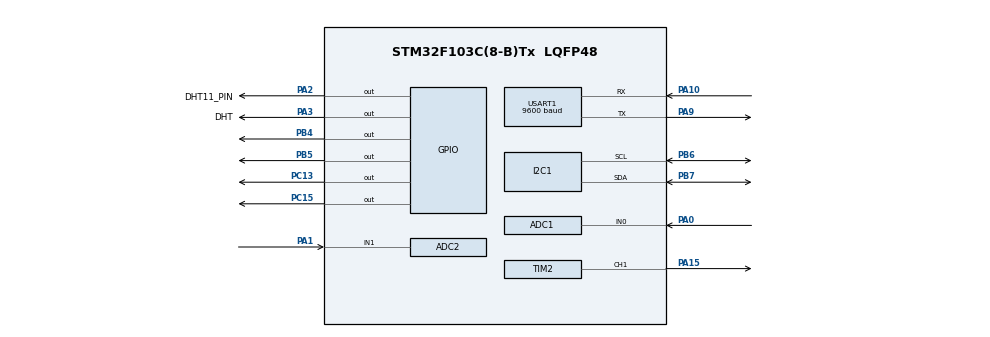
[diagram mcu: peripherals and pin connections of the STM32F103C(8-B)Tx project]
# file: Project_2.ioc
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ADC1.Channel-4\#ChannelRegularConversion=ADC_CHANNEL_0
ADC1.NbrOfConversionFlag=1
ADC1.Rank-4\#ChannelRegularConversion=1
ADC1.SamplingTime-4\#ChannelRegularConversion=ADC_SAMPLETIME_13CYCLES_5
ADC1.master=1
ADC2.Channel-1\#ChannelRegularConversion=ADC_CHANNEL_1
ADC2.NbrOfConversionFlag=1
ADC2.Rank-1\#ChannelRegularConversion=1
ADC2.SamplingTime-1\#ChannelRegularConversion=ADC_SAMPLETIME_13CYCLES_5
I2C1.I2C_Mode=I2C_Fast
IWDG.Prescaler=IWDG_PRESCALER_256
Mcu.Family=STM32F1
Mcu.Name=STM32F103C(8-B)Tx
Mcu.Package=LQFP48
NVIC.PriorityGroup=NVIC_PRIORITYGROUP_4
NVIC.USART1_IRQn=true\:0\:0\:false\:false\:true\:true\:true\:true
PA0-WKUP.Signal=ADCx_IN0
PA1.Signal=ADCx_IN1
PA10.Mode=Asynchronous
PA10.Signal=USART1_RX
PA13.Mode=Serial_Wire
PA13.Signal=SYS_JTMS-SWDIO
PA14.Mode=Serial_Wire
PA14.Signal=SYS_JTCK-SWCLK
PA15.Signal=S_TIM2_CH1_ETR
PA2.GPIO_Label=DHT11_PIN
PA2.Signal=GPIO_Output
PA3.GPIO_Label=DHT
PA3.Signal=GPIO_Output
PA9.Mode=Asynchronous
PA9.Signal=USART1_TX
PB4.Signal=GPIO_Output
PB5.Signal=GPIO_Output
PB6.Mode=I2C
PB6.Signal=I2C1_SCL
PB7.Mode=I2C
PB7.Signal=I2C1_SDA
PC13-TAMPER-RTC.Signal=GPIO_Output
PC15-OSC32_OUT.Signal=GPIO_Output
ProjectManager.HeapSize=0x200
ProjectManager.StackSize=0x400
ProjectManager.TargetToolchain=STM32CubeIDE
RCC.APB1Freq_Value=8000000
RCC.APB2Freq_Value=8000000
SH.ADCx_IN0.0=ADC1_IN0,IN0
SH.ADCx_IN1.0=ADC2_IN1,IN1
SH.S_TIM2_CH1_ETR.0=TIM2_CH1,PWM Generation1 CH1
TIM1.Prescaler=8
TIM2.AutoReloadPreload=TIM_AUTORELOAD_PRELOAD_ENABLE
TIM2.Channel-PWM\ Generation1\ CH1=TIM_CHANNEL_1
TIM2.Period=1000
TIM2.Prescaler=7
TIM3.Prescaler=7
TIM4.Prescaler=7
USART1.BaudRate=9600
USART1.VirtualMode=VM_ASYNC
VP_IWDG_VS_IWDG.Mode=IWDG_Activate
VP_TIM1_VS_ClockSourceINT.Mode=Internal
VP_TIM2_VS_ClockSourceINT.Mode=Internal
VP_TIM3_VS_ClockSourceINT.Mode=Internal
VP_TIM4_VS_ClockSourceINT.Mode=Internal
board=custom

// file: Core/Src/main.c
/* USER CODE BEGIN Header */
/**
 ******************************************************************************
 * @file           : main.c
 * @brief          : Main program body
 ******************************************************************************
 * @attention
 *
 * Copyright (c) 2024 STMicroelectronics.
 * All rights reserved.
 *
 * This software is licensed under terms that can be found in the LICENSE file
 * in the root directory of this software component.
 * If no LICENSE file comes with this software, it is provided AS-IS.
 *
 ******************************************************************************
 */
/* USER CODE END Header */
#include "main.h"

/* USER CODE BEGIN Includes */
#include "gpio.h"
#include "timer.h"
#include "DHT.h"
#include "string.h"
#include "SharpGP2Y10.h"
#include "math.h"
#include "ssd1306.h"
#define ID_STM32_2 0x02
#define ID_ESP	   0x03
#define READ	   0x00
#define WRITE	   0x01
#define PWM_TRUE   0x01
#define PWM_FLASE  0x00
/* USER CODE END Includes */

ADC_HandleTypeDef hadc1;
ADC_HandleTypeDef hadc2;

I2C_HandleTypeDef hi2c1;

IWDG_HandleTypeDef hiwdg;

TIM_HandleTypeDef htim1;
TIM_HandleTypeDef htim2;
TIM_HandleTypeDef htim3;
TIM_HandleTypeDef htim4;

UART_HandleTypeDef huart1;

/* USER CODE BEGIN PV */
struct PinSetup DustSensor;
/* USER CODE END PV */

void SystemClock_Config(void);
static void MX_GPIO_Init(void);
static void MX_TIM4_Init(void);
static void MX_TIM1_Init(void);
static void MX_TIM2_Init(void);
static void MX_TIM3_Init(void);
static void MX_ADC1_Init(void);
static void MX_ADC2_Init(void);
static void MX_USART1_UART_Init(void);
static void MX_I2C1_Init(void);
static void MX_IWDG_Init(void);
/* USER CODE BEGIN PFP */

//uint16_t adc_read(ADC_HandleTypeDef *Adc_x){
//	  HAL_ADC_Start(&hadc1); // start the adc
//
//	  HAL_ADC_PollForConversion(&hadc1, 100); // poll for conversion
//
//	  adc_val = HAL_ADC_GetValue(&hadc1); // get the adc value
//
//	  HAL_ADC_Stop(&hadc1); // stop adc
//}
/* USER CODE END PFP */

/* USER CODE BEGIN 0 */
#define RL 10.0       // �?iện trở tải (RL) là 10kΩ
#define R0 76.63      // Giá trị R0 đo được trong không khí sạch (cần hiệu chỉnh)
#define TEMPERATURE_WARNING 35
typedef struct {
	int sensorvalue;
	float voltage;
	float rs;
	float ratio;
	float ppm;
	uint8_t speed_fan;
	dht11_t dht;
	float SensorCo;
} Peripheral_t;
Peripheral_t PeripheralData;
uint8_t TriggerPwm = 0;
uint32_t value[3];
dht11_t dht;
float humi, temp;
uint8_t rx_data[1];  // Biến lưu dữ liệu nhận
uint8_t buffer[128];
uint8_t index_buffer = 0;
volatile int flat = 0;
typedef struct {
	uint8_t id;        // ID 8 bit
	uint8_t rw;        // Read (0) hoặc Write (1) 1 bit
//	char data[128];        // Chuỗi dữ liệu (String)
	uint8_t d_humi;
	uint8_t d_temp;
	uint16_t d_ppm;
	uint16_t d_co;
	uint8_t crc;       // CRC 8 bit dùng để kiểm tra lỗi
	uint8_t endframe;
	uint8_t RL1;
	uint8_t RL2;
} LoRaFrame;
LoRaFrame LoRaTx;

void HAL_UART_RxCpltCallback(UART_HandleTypeDef *huart) {
	if (huart->Instance == USART1) {
		if (rx_data[0] == '\n') {
			if (strstr(buffer, "ID")) {
				uint8_t test = 0;
				uint8_t temp1 = 0;
				uint8_t temp2 = 0;
				sscanf(buffer, "{\"ID\": %hhu}", &test, &temp1, &temp2);
				if (test == ID_STM32_2) {
					flat = 1;
				}
			}
			if(strstr(buffer,"FAN2")){
				flat = 2;
			}
			if(strstr(buffer,"LIGHT2")){
				flat = 3;
			}
			for (int i = 0; i < index_buffer; i++) {
				buffer[i] = '\0';
			}
			index_buffer = 0;
		} else {
			buffer[index_buffer++] = rx_data[0];
		}

		HAL_UART_Receive_IT(&huart1, (uint8_t*) rx_data, 1);
	}
}

// Hàm gửi khung dữ liệu (chuỗi) qua UART cho LoRa E32
void LoRa_SendFrame(LoRaFrame *data) {
	char buf[258];
	sprintf(buf,
			"{\"ID\": %u, \"RW\": %u, \"HUMI\": %u, \"TEMP\": %u, \"PPM\": %Lu, \"CO\": %Lu, \"RL3\": %u, \"RL4\": %u}\n\r",
			data->id, data->rw, data->d_humi, data->d_temp, data->d_ppm,
			data->d_co, data->RL1, data->RL2);
	// Gửi khung dữ liệu qua UART
	HAL_UART_Transmit(&huart1, (uint8_t*) buf, strlen(buf), 100);
}
void UpdateOled(Peripheral_t *pPeripheralData_t) {
	char buf_t[50];
	char buf_h[50];
	char buf_ppm[50];
	char buf_co[50];
	char buf_sp[50];
//	SSD1306_Clear();
	sprintf(buf_t, "Temperature: %u ", pPeripheralData_t->dht.temperature);
	sprintf(buf_h, "Humidity: %u", pPeripheralData_t->dht.humidty);
	sprintf(buf_ppm, "PPM: %Lu", (uint16_t) pPeripheralData_t->ppm);
	sprintf(buf_co, "CO: %Lu", (uint16_t) pPeripheralData_t->SensorCo);
	sprintf(buf_sp, "Speed fan: %u", 0);

	SSD1306_GotoXY(40, 0); // goto 10, 10
	SSD1306_Puts("NODE1", &Font_7x10, 1); // print Hello

	SSD1306_GotoXY(0, 10);
	SSD1306_Puts(buf_t, &Font_7x10, 1);

	SSD1306_GotoXY(0, 20); // goto 10, 10
	SSD1306_Puts(buf_h, &Font_7x10, 1); // print Hello
	SSD1306_GotoXY(0, 30);
	SSD1306_Puts(buf_ppm, &Font_7x10, 1);

	SSD1306_GotoXY(0, 40);
	SSD1306_Puts(buf_co, &Font_7x10, 1);

	SSD1306_GotoXY(0, 50);
	SSD1306_Puts(buf_sp, &Font_7x10, 1);
	SSD1306_UpdateScreen(); // update screen

}
void UpdateSensorData(dht11_t *pdht, Peripheral_t *pPeripheralData) {
	readDHT11(pdht);
	pPeripheralData->dht.temperature = dht.temperature;
	pPeripheralData->dht.humidty = dht.humidty;

	pPeripheralData->SensorCo = analogRead(&hadc2) / 3;

	pPeripheralData->sensorvalue = analogRead(&hadc1);
	pPeripheralData->voltage = pPeripheralData->sensorvalue * (5 / 4095.0);
	pPeripheralData->rs = (5 - pPeripheralData->voltage)
			/ PeripheralData.voltage * RL;
	pPeripheralData->ratio = pPeripheralData->rs / R0;
	pPeripheralData->ppm = 116.6020682
			* pow(pPeripheralData->ratio, -2.769034857);
}
void LoRa_UpdateFrame(LoRaFrame *pLoRaFrame, uint8_t id, uint8_t rw,
		Peripheral_t *pPeripheralData) {

	pLoRaFrame->id = id;
	pLoRaFrame->rw = rw;
	pLoRaFrame->d_temp = pPeripheralData->dht.temperature;
	pLoRaFrame->d_humi = pPeripheralData->dht.humidty;
	pLoRaFrame->d_ppm = (uint16_t) pPeripheralData->ppm;
	pLoRaFrame->d_co = (uint16_t) pPeripheralData->SensorCo;

}
//void Read_DataDht(){
//	DHT_GetData(&Dht11Data);
//	temp = Dht11Data.Temperature;
//	humi = Dht11Data.Humidity;
//}
/* USER CODE END 0 */

int main(void) {

	/* MCU Configuration--------------------------------------------------------*/

	/* Reset of all peripherals, Initializes the Flash interface and the Systick. */
	HAL_Init();

	/* Configure the system clock */
	SystemClock_Config();

	/* Initialize all configured peripherals */
	MX_GPIO_Init();
	MX_TIM4_Init();
	MX_TIM1_Init();
	MX_TIM2_Init();
	MX_TIM3_Init();
	MX_ADC1_Init();
	MX_ADC2_Init();
	MX_USART1_UART_Init();
	MX_I2C1_Init();
//	MX_IWDG_Init();
	/* USER CODE BEGIN 2 */
//	HAL_IWDG_Init(&hiwdg);
	HAL_TIM_Base_Start(&htim4);
	HAL_TIM_PWM_Start(&htim2, TIM_CHANNEL_1);

	timer_init(&htim3);
	init_dht11(&dht, &htim4, GPIOA, DHT_Pin);

	SSD1306_Init();
	SSD1306_Fill(SSD1306_COLOR_BLACK);

	HAL_UART_Receive_IT(&huart1, (uint8_t*) rx_data, 1);

	uint16_t tick = HAL_GetTick();
	HAL_GPIO_WritePin(GPIOB, GPIO_PIN_4, GPIO_PIN_SET);
	HAL_GPIO_WritePin(GPIOB, GPIO_PIN_5, GPIO_PIN_SET);
	LoRaTx.RL1 = 1;
	LoRaTx.RL2 = 1;
	/* USER CODE END 2 */

	/* Infinite loop */
	/* USER CODE BEGIN WHILE */
	while (1) {
//		HAL_IWDG_Refresh(&hiwdg);
		if (HAL_GetTick() - tick >= 150) {
			UpdateSensorData(&dht, &PeripheralData);
			UpdateOled(&PeripheralData);
//			HAL_GPIO_WritePin(GPIOB, GPIO_PIN_4, LoRaTx.RL1);
//			HAL_GPIO_WritePin(GPIOB, GPIO_PIN_5, LoRaTx.RL2);
			tick = HAL_GetTick();
		}
		if (flat == 1) {
			LoRa_UpdateFrame(&LoRaTx, ID_STM32_2, WRITE, &PeripheralData);
			LoRa_SendFrame(&LoRaTx);
			flat = 0;
		}else if(flat == 2){
			LoRaTx.RL1 = !LoRaTx.RL1;
			HAL_GPIO_WritePin(GPIOB, GPIO_PIN_4, LoRaTx.RL1);
			flat = 0;
		}else if(flat == 3){
			LoRaTx.RL2 = !LoRaTx.RL2;
			HAL_GPIO_WritePin(GPIOB, GPIO_PIN_5, LoRaTx.RL2);
			flat = 0;
		}
//		if (PeripheralData.dht.temperature >= TEMPERATURE_WARNING
//				&& TriggerPwm == PWM_FLASE) {
//			__HAL_TIM_SET_COMPARE(&htim2, TIM_CHANNEL_1, 900);
//			TriggerPwm = PWM_TRUE;
//		} else if (PeripheralData.dht.temperature < TEMPERATURE_WARNING
//				&& TriggerPwm == PWM_TRUE) {
//			__HAL_TIM_SET_COMPARE(&htim2, TIM_CHANNEL_1, 200);
//		} else
//			;
		/* USER CODE END WHILE */

	}
}

void SystemClock_Config(void) {
	RCC_OscInitTypeDef RCC_OscInitStruct = { 0 };
	RCC_ClkInitTypeDef RCC_ClkInitStruct = { 0 };
	RCC_PeriphCLKInitTypeDef PeriphClkInit = { 0 };

	/** Initializes the RCC Oscillators according to the specified parameters
	 * in the RCC_OscInitTypeDef structure.
	 */
	RCC_OscInitStruct.OscillatorType = RCC_OSCILLATORTYPE_HSI
			| RCC_OSCILLATORTYPE_LSI;
	RCC_OscInitStruct.HSIState = RCC_HSI_ON;
	RCC_OscInitStruct.HSICalibrationValue = RCC_HSICALIBRATION_DEFAULT;
	RCC_OscInitStruct.LSIState = RCC_LSI_ON;
	RCC_OscInitStruct.PLL.PLLState = RCC_PLL_NONE;
	if (HAL_RCC_OscConfig(&RCC_OscInitStruct) != HAL_OK) {
		Error_Handler();
	}

	/** Initializes the CPU, AHB and APB buses clocks
	 */
	RCC_ClkInitStruct.ClockType = RCC_CLOCKTYPE_HCLK | RCC_CLOCKTYPE_SYSCLK
			| RCC_CLOCKTYPE_PCLK1 | RCC_CLOCKTYPE_PCLK2;
	RCC_ClkInitStruct.SYSCLKSource = RCC_SYSCLKSOURCE_HSI;
	RCC_ClkInitStruct.AHBCLKDivider = RCC_SYSCLK_DIV1;
	RCC_ClkInitStruct.APB1CLKDivider = RCC_HCLK_DIV1;
	RCC_ClkInitStruct.APB2CLKDivider = RCC_HCLK_DIV1;

	if (HAL_RCC_ClockConfig(&RCC_ClkInitStruct, FLASH_LATENCY_0) != HAL_OK) {
		Error_Handler();
	}
	PeriphClkInit.PeriphClockSelection = RCC_PERIPHCLK_ADC;
	PeriphClkInit.AdcClockSelection = RCC_ADCPCLK2_DIV2;
	if (HAL_RCCEx_PeriphCLKConfig(&PeriphClkInit) != HAL_OK) {
		Error_Handler();
	}
}

static void MX_ADC1_Init(void) {

	ADC_ChannelConfTypeDef sConfig = { 0 };

	/** Common config
	 */
	hadc1.Instance = ADC1;
	hadc1.Init.ScanConvMode = ADC_SCAN_DISABLE;
	hadc1.Init.ContinuousConvMode = DISABLE;
	hadc1.Init.DiscontinuousConvMode = DISABLE;
	hadc1.Init.ExternalTrigConv = ADC_SOFTWARE_START;
	hadc1.Init.DataAlign = ADC_DATAALIGN_RIGHT;
	hadc1.Init.NbrOfConversion = 1;
	if (HAL_ADC_Init(&hadc1) != HAL_OK) {
		Error_Handler();
	}

	/** Configure Regular Channel
	 */
	sConfig.Channel = ADC_CHANNEL_0;
	sConfig.Rank = ADC_REGULAR_RANK_1;
	sConfig.SamplingTime = ADC_SAMPLETIME_13CYCLES_5;
	if (HAL_ADC_ConfigChannel(&hadc1, &sConfig) != HAL_OK) {
		Error_Handler();
	}

}

static void MX_ADC2_Init(void) {

	ADC_ChannelConfTypeDef sConfig = { 0 };

	/** Common config
	 */
	hadc2.Instance = ADC2;
	hadc2.Init.ScanConvMode = ADC_SCAN_DISABLE;
	hadc2.Init.ContinuousConvMode = DISABLE;
	hadc2.Init.DiscontinuousConvMode = DISABLE;
	hadc2.Init.ExternalTrigConv = ADC_SOFTWARE_START;
	hadc2.Init.DataAlign = ADC_DATAALIGN_RIGHT;
	hadc2.Init.NbrOfConversion = 1;
	if (HAL_ADC_Init(&hadc2) != HAL_OK) {
		Error_Handler();
	}

	/** Configure Regular Channel
	 */
	sConfig.Channel = ADC_CHANNEL_1;
	sConfig.Rank = ADC_REGULAR_RANK_1;
	sConfig.SamplingTime = ADC_SAMPLETIME_13CYCLES_5;
	if (HAL_ADC_ConfigChannel(&hadc2, &sConfig) != HAL_OK) {
		Error_Handler();
	}

}

static void MX_I2C1_Init(void) {

	hi2c1.Instance = I2C1;
	hi2c1.Init.ClockSpeed = 400000;
	hi2c1.Init.DutyCycle = I2C_DUTYCYCLE_2;
	hi2c1.Init.OwnAddress1 = 0;
	hi2c1.Init.AddressingMode = I2C_ADDRESSINGMODE_7BIT;
	hi2c1.Init.DualAddressMode = I2C_DUALADDRESS_DISABLE;
	hi2c1.Init.OwnAddress2 = 0;
	hi2c1.Init.GeneralCallMode = I2C_GENERALCALL_DISABLE;
	hi2c1.Init.NoStretchMode = I2C_NOSTRETCH_DISABLE;
	if (HAL_I2C_Init(&hi2c1) != HAL_OK) {
		Error_Handler();
	}

}

static void MX_IWDG_Init(void) {

	hiwdg.Instance = IWDG;
	hiwdg.Init.Prescaler = IWDG_PRESCALER_256;
	hiwdg.Init.Reload = 4095;
	if (HAL_IWDG_Init(&hiwdg) != HAL_OK) {
		Error_Handler();
	}

}

static void MX_TIM1_Init(void) {

	TIM_ClockConfigTypeDef sClockSourceConfig = { 0 };
	TIM_MasterConfigTypeDef sMasterConfig = { 0 };

	htim1.Instance = TIM1;
	htim1.Init.Prescaler = 8;
	htim1.Init.CounterMode = TIM_COUNTERMODE_UP;
	htim1.Init.Period = 65535;
	htim1.Init.ClockDivision = TIM_CLOCKDIVISION_DIV1;
	htim1.Init.RepetitionCounter = 0;
	htim1.Init.AutoReloadPreload = TIM_AUTORELOAD_PRELOAD_DISABLE;
	if (HAL_TIM_Base_Init(&htim1) != HAL_OK) {
		Error_Handler();
	}
	sClockSourceConfig.ClockSource = TIM_CLOCKSOURCE_INTERNAL;
	if (HAL_TIM_ConfigClockSource(&htim1, &sClockSourceConfig) != HAL_OK) {
		Error_Handler();
	}
	sMasterConfig.MasterOutputTrigger = TIM_TRGO_RESET;
	sMasterConfig.MasterSlaveMode = TIM_MASTERSLAVEMODE_DISABLE;
	if (HAL_TIMEx_MasterConfigSynchronization(&htim1, &sMasterConfig)
			!= HAL_OK) {
		Error_Handler();
	}

}

static void MX_TIM2_Init(void) {

	TIM_ClockConfigTypeDef sClockSourceConfig = { 0 };
	TIM_MasterConfigTypeDef sMasterConfig = { 0 };
	TIM_OC_InitTypeDef sConfigOC = { 0 };

	htim2.Instance = TIM2;
	htim2.Init.Prescaler = 7;
	htim2.Init.CounterMode = TIM_COUNTERMODE_UP;
	htim2.Init.Period = 1000;
	htim2.Init.ClockDivision = TIM_CLOCKDIVISION_DIV1;
	htim2.Init.AutoReloadPreload = TIM_AUTORELOAD_PRELOAD_ENABLE;
	if (HAL_TIM_Base_Init(&htim2) != HAL_OK) {
		Error_Handler();
	}
	sClockSourceConfig.ClockSource = TIM_CLOCKSOURCE_INTERNAL;
	if (HAL_TIM_ConfigClockSource(&htim2, &sClockSourceConfig) != HAL_OK) {
		Error_Handler();
	}
	if (HAL_TIM_PWM_Init(&htim2) != HAL_OK) {
		Error_Handler();
	}
	sMasterConfig.MasterOutputTrigger = TIM_TRGO_RESET;
	sMasterConfig.MasterSlaveMode = TIM_MASTERSLAVEMODE_DISABLE;
	if (HAL_TIMEx_MasterConfigSynchronization(&htim2, &sMasterConfig)
			!= HAL_OK) {
		Error_Handler();
	}
	sConfigOC.OCMode = TIM_OCMODE_PWM1;
	sConfigOC.Pulse = 0;
	sConfigOC.OCPolarity = TIM_OCPOLARITY_HIGH;
	sConfigOC.OCFastMode = TIM_OCFAST_DISABLE;
	if (HAL_TIM_PWM_ConfigChannel(&htim2, &sConfigOC, TIM_CHANNEL_1)
			!= HAL_OK) {
		Error_Handler();
	}
	HAL_TIM_MspPostInit(&htim2);

}

static void MX_TIM3_Init(void) {

	TIM_ClockConfigTypeDef sClockSourceConfig = { 0 };
	TIM_MasterConfigTypeDef sMasterConfig = { 0 };

	htim3.Instance = TIM3;
	htim3.Init.Prescaler = 7;
	htim3.Init.CounterMode = TIM_COUNTERMODE_UP;
	htim3.Init.Period = 65535;
	htim3.Init.ClockDivision = TIM_CLOCKDIVISION_DIV1;
	htim3.Init.AutoReloadPreload = TIM_AUTORELOAD_PRELOAD_DISABLE;
	if (HAL_TIM_Base_Init(&htim3) != HAL_OK) {
		Error_Handler();
	}
	sClockSourceConfig.ClockSource = TIM_CLOCKSOURCE_INTERNAL;
	if (HAL_TIM_ConfigClockSource(&htim3, &sClockSourceConfig) != HAL_OK) {
		Error_Handler();
	}
	sMasterConfig.MasterOutputTrigger = TIM_TRGO_RESET;
	sMasterConfig.MasterSlaveMode = TIM_MASTERSLAVEMODE_DISABLE;
	if (HAL_TIMEx_MasterConfigSynchronization(&htim3, &sMasterConfig)
			!= HAL_OK) {
		Error_Handler();
	}

}

static void MX_TIM4_Init(void) {

	TIM_ClockConfigTypeDef sClockSourceConfig = { 0 };
	TIM_MasterConfigTypeDef sMasterConfig = { 0 };

	htim4.Instance = TIM4;
	htim4.Init.Prescaler = 7;
	htim4.Init.CounterMode = TIM_COUNTERMODE_UP;
	htim4.Init.Period = 65535;
	htim4.Init.ClockDivision = TIM_CLOCKDIVISION_DIV1;
	htim4.Init.AutoReloadPreload = TIM_AUTORELOAD_PRELOAD_DISABLE;
	if (HAL_TIM_Base_Init(&htim4) != HAL_OK) {
		Error_Handler();
	}
	sClockSourceConfig.ClockSource = TIM_CLOCKSOURCE_INTERNAL;
	if (HAL_TIM_ConfigClockSource(&htim4, &sClockSourceConfig) != HAL_OK) {
		Error_Handler();
	}
	sMasterConfig.MasterOutputTrigger = TIM_TRGO_RESET;
	sMasterConfig.MasterSlaveMode = TIM_MASTERSLAVEMODE_DISABLE;
	if (HAL_TIMEx_MasterConfigSynchronization(&htim4, &sMasterConfig)
			!= HAL_OK) {
		Error_Handler();
	}

}

static void MX_USART1_UART_Init(void) {

	huart1.Instance = USART1;
	huart1.Init.BaudRate = 9600;
	huart1.Init.WordLength = UART_WORDLENGTH_8B;
	huart1.Init.StopBits = UART_STOPBITS_1;
	huart1.Init.Parity = UART_PARITY_NONE;
	huart1.Init.Mode = UART_MODE_TX_RX;
	huart1.Init.HwFlowCtl = UART_HWCONTROL_NONE;
	huart1.Init.OverSampling = UART_OVERSAMPLING_16;
	if (HAL_UART_Init(&huart1) != HAL_OK) {
		Error_Handler();
	}

}

static void MX_GPIO_Init(void) {
	GPIO_InitTypeDef GPIO_InitStruct = { 0 };

	/* GPIO Ports Clock Enable */
	__HAL_RCC_GPIOC_CLK_ENABLE();
	__HAL_RCC_GPIOA_CLK_ENABLE();
	__HAL_RCC_GPIOB_CLK_ENABLE();

	/*Configure GPIO pin Output Level */
	HAL_GPIO_WritePin(GPIOC, GPIO_PIN_13 | GPIO_PIN_15, GPIO_PIN_RESET);

	/*Configure GPIO pin Output Level */
	HAL_GPIO_WritePin(GPIOA, DHT11_PIN_Pin | DHT_Pin, GPIO_PIN_RESET);

	/*Configure GPIO pin Output Level */
	HAL_GPIO_WritePin(GPIOB, GPIO_PIN_4 | GPIO_PIN_5, GPIO_PIN_RESET);

	/*Configure GPIO pins : PC13 PC15 */
	GPIO_InitStruct.Pin = GPIO_PIN_13 | GPIO_PIN_15;
	GPIO_InitStruct.Mode = GPIO_MODE_OUTPUT_PP;
	GPIO_InitStruct.Pull = GPIO_NOPULL;
	GPIO_InitStruct.Speed = GPIO_SPEED_FREQ_LOW;
	HAL_GPIO_Init(GPIOC, &GPIO_InitStruct);

	/*Configure GPIO pins : DHT11_PIN_Pin DHT_Pin */
	GPIO_InitStruct.Pin = DHT11_PIN_Pin | DHT_Pin;
	GPIO_InitStruct.Mode = GPIO_MODE_OUTPUT_PP;
	GPIO_InitStruct.Pull = GPIO_NOPULL;
	GPIO_InitStruct.Speed = GPIO_SPEED_FREQ_LOW;
	HAL_GPIO_Init(GPIOA, &GPIO_InitStruct);

	/*Configure GPIO pins : PB4 PB5 */
	GPIO_InitStruct.Pin = GPIO_PIN_4 | GPIO_PIN_5;
	GPIO_InitStruct.Mode = GPIO_MODE_OUTPUT_PP;
	GPIO_InitStruct.Pull = GPIO_NOPULL;
	GPIO_InitStruct.Speed = GPIO_SPEED_FREQ_LOW;
	HAL_GPIO_Init(GPIOB, &GPIO_InitStruct);

}

void Error_Handler(void) {
	__disable_irq();
	while (1) {
	}
}
